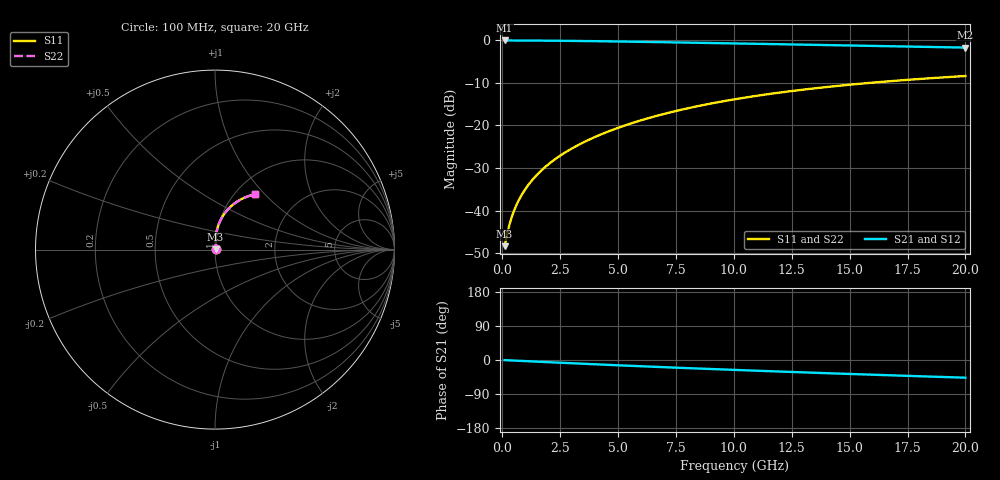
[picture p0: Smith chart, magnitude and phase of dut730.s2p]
! Touchstone file exported from HFSS 2024.1.0
!  File:  C:/UserFiles/LocalFiles/RDL_TSV_Batchsim/temp_RDL_bottom_730_1779858883.aedt
!  Generated:  01:17:23 PM May 27, 2026
!  Design:  RDL_bottom
!  Project:  temp_RDL_bottom_730_1779858883
!  Setup:  Setup1
!  Solution:  Sweep
! Variables:
!  dtsv = 10.80580581um
!  hbump = 3um
!  htsv = 99.47um
!  ldown = 652.1um
!  lrdl = 100um
!  p = 40
!  p1 = 57.7um
!  rhole = 1um
!  t = 450um
!  tdown = 2.81um
!  trdl = 3.915915916um
!  wdown = 27.62um
!  wrdl = 20um
# GHz S MA R 50.000000
! Terminal data exported
! Port[1] = RDL1_T1
! Port[2] = RDL1_T2
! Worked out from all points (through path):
!   200 points, 100 MHz to 20 GHz, reference 50 ohm
!   highest |S21| = -0.03 dB at 100 MHz (marker M1); lowest = -1.7 dB at 20 GHz (marker M2)
!   group delay of S21, straight-line fit = 6.42 ps
!   lowest |S11| = -48.4 dB at 100 MHz (marker M3), VSWR 1.01, Z = 50.3 + j0.198 ohm
!   |S11| at or under -10 dB: start of sweep to 15.86 GHz
!   |S22| runs from -48.4 to -8.4 dB; largest |S21 - S12| = 3.2e-15
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0.1  0.003813 31.1  0.9967 -0.3  0.9967 -0.3  0.003813 31.1
! Gamma 0 0 0 0
! Port Impedance 50 0 50 0
0.2  0.005158 48.4  0.9965 -0.6  0.9965 -0.6  0.005158 48.4
0.3  0.006698 57.4  0.9963 -0.9  0.9963 -0.9  0.006698 57.4
0.4  0.00827 62.9  0.996 -1.2  0.996 -1.2  0.00827 62.9
0.5  0.009846 66.8  0.9958 -1.5  0.9958 -1.5  0.009847 66.8
0.6  0.01143 69.7  0.9955 -1.8  0.9955 -1.8  0.01143 69.7
0.8  0.01464 73.9  0.9951 -2.4  0.9951 -2.4  0.01464 73.9
1.1  0.01957 77.9  0.9942 -3.2  0.9942 -3.2  0.01957 77.9
1.3  0.02293 79.7  0.9936 -3.8  0.9936 -3.8  0.02293 79.7
1.6  0.02807 81.7  0.9925 -4.6  0.9925 -4.6  0.02807 81.7
2.1  0.03688 83.8  0.9903 -6.1  0.9903 -6.1  0.03688 83.7
2.7  0.04786 85.1  0.987 -7.8  0.987 -7.8  0.04785 85.1
3.5  0.06317 85.8  0.9817 -10.0  0.9817 -10.0  0.06315 85.8
4.2  0.07716 85.8  0.9763 -11.9  0.9763 -11.9  0.07713 85.7
5  0.09374 85.2  0.9694 -14.0  0.9694 -14.0  0.09368 85.1
6.8  0.1325 82.6  0.9526 -18.5  0.9526 -18.5  0.1324 82.5
8.4  0.1676 79.4  0.9366 -22.4  0.9366 -22.4  0.1675 79.3
10.1  0.2044 75.6  0.9194 -26.3  0.9194 -26.3  0.2041 75.5
11.7  0.2377 71.9  0.9031 -29.9  0.9031 -29.9  0.2374 71.9
13.4  0.2713 68.0  0.8859 -33.5  0.8859 -33.5  0.271 68.0
16.7  0.3304 60.8  0.8532 -40.3  0.8532 -40.3  0.33 60.7
20  0.381 54.0  0.8217 -46.7  0.8217 -46.7  0.3805 53.9
